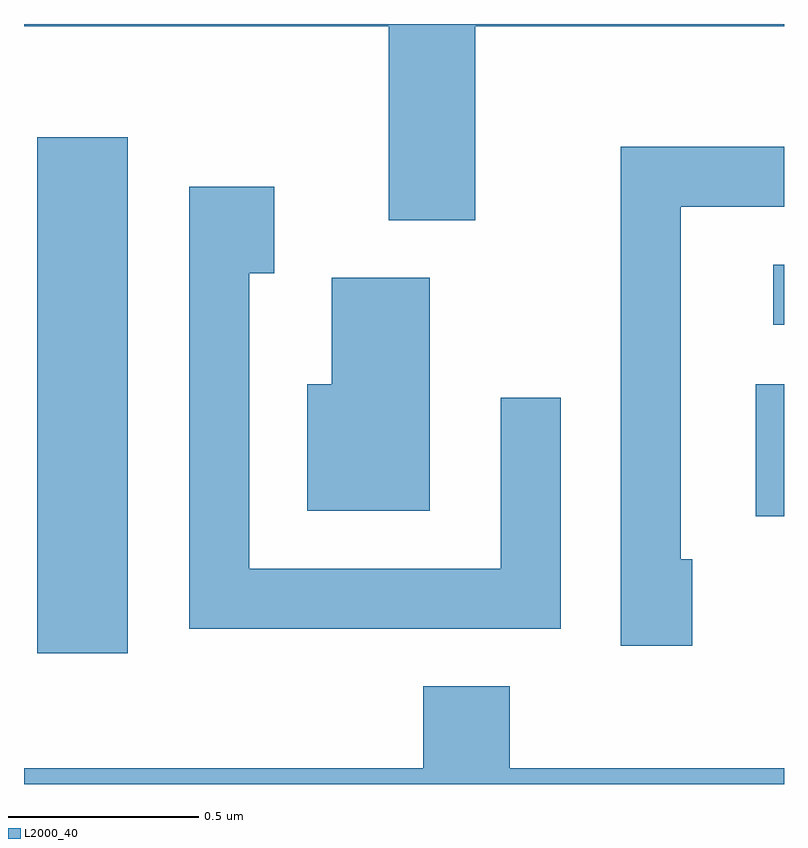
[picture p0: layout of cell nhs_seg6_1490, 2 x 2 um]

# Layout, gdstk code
import gdstk
lib = gdstk.Library(unit=1e-6, precision=1e-09)
def R(c, l, rs):  # rectangles x0, y0, x1, y1
    for r in rs: c.add(gdstk.rectangle(r[:2], r[2:], *l))
def P(c, l, *ps):  # polygons
    for p in ps: c.add(gdstk.Polygon(p, *l))
L2000_40 = (2000, 40)

nhs_seg6_1490 = lib.new_cell('nhs_seg6_1490')
R(nhs_seg6_1490, L2000_40, [(195.646,1650.506,195.884,1651.864), (197.536,1650.866,197.611,1651.214), (197.583,1651.371,197.611,1651.529)])
P(nhs_seg6_1490, L2000_40, [(196.799,1652.156),(197.611,1652.156),(197.611,1652.162),(195.611,1652.162),(195.611,1652.156),(196.571,1652.156),(196.571,1651.646),(196.799,1651.646)],
  [(197.369,1650.754),(197.339,1650.754),(197.339,1651.681),(197.611,1651.681),(197.611,1651.839),(197.181,1651.839),(197.181,1650.526),(197.369,1650.526)],
  [(197.024,1651.178),(196.866,1651.178),(196.866,1650.729),(196.204,1650.729),(196.204,1651.506),(196.269,1651.506),(196.269,1651.734),(196.046,1651.734),(196.046,1650.571),(197.024,1650.571)],
  [(196.679,1651.494),(196.421,1651.494),(196.421,1651.214),(196.356,1651.214),(196.356,1650.881),(196.679,1650.881)],
  [(197.611,1650.204),(196.889,1650.204),(196.889,1650.419),(196.661,1650.419),(196.661,1650.204),(195.611,1650.204),(195.611,1650.162),(197.611,1650.162)])

lib.write_gds('nhs_seg6_1490.gds')
